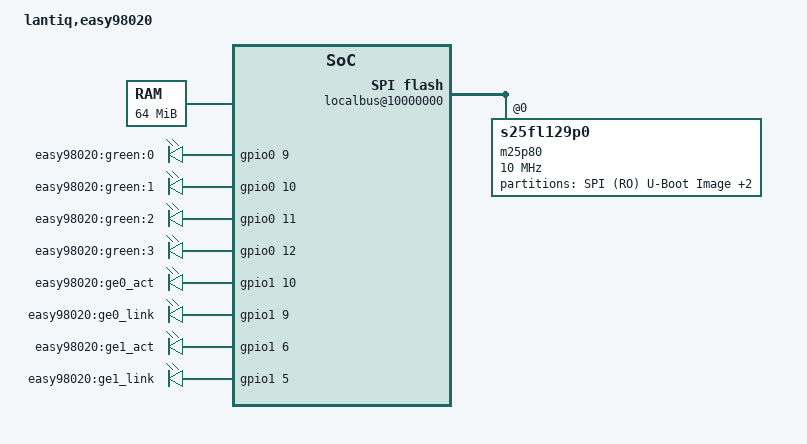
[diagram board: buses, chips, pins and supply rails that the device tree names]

/include/ "falcon.dtsi"

/ {
	model = "lantiq,easy98020";

	chosen {
		// don't set bootargs
		// bootargs = "console=ttyLTQ0,115200 init=/etc/preinit";
	};

	memory@0 {
		reg = <0x0 0x4000000>;  // 64M at 0x0
	};

	localbus@10000000 {
		#address-cells = <1>;
		#size-cells = <1>;
		compatible = "lantiq,sflash-falcon", "simple-bus";
		busnum = <0>;

		m25p80@0 {
			#address-cells = <1>;
			#size-cells = <1>;
			compatible = "s25fl129p0";
			reg = <0 0>;
			linux,modalias = "m25p80", "s25fl129p0";
			linux,mtd-name = "sflash";
			spi-max-frequency = <10000000>;

			partition@0 {
				reg = <0x0 0x00080000>;
				label = "SPI (RO) U-Boot Image";
				read-only;
			};

			partition@80000 {
				reg = <0x00080000 0x00080000>;
				label = "SPI (RO) DTB Image";
				read-only;
			};

			partition@100000 {
				reg = <0x00100000 0x00400000>;
				label = "SPI (RO) Linux Kernel Image";
				read-only;
			};
		};
	};

	easy98020-leds {
		compatible = "gpio-leds";

		LED_0 {
			label = "easy98020:green:0";
			gpios = <&gpio0 9 0>;
			default-state = "keep";
		};
		LED_1 {
			label = "easy98020:green:1";
			gpios = <&gpio0 10 0>;
			default-state = "keep";
		};
		LED_2 {
			label = "easy98020:green:2";
			gpios = <&gpio0 11 0>;
			default-state = "keep";
		};
		LED_3 {
			label = "easy98020:green:3";
			gpios = <&gpio0 12 0>;
			default-state = "keep";
		};
	};

	easy98020-phy-leds {
		/* extra group, as currently pinctrl-falcon has a bug
		   and detects "gpio0 10" and "gpio1 10" as conflict.
		   To avoid unregistering of all leds from the group on error,
		   we define an extra group here! */
		compatible = "gpio-leds";

		GE0_ACT {
			label = "easy98020:ge0_act";
			gpios = <&gpio1 10 0>;
			default-state = "keep";
		};
		GE0_LINK {
			label = "easy98020:ge0_link";
			gpios = <&gpio1 9 0>;
			default-state = "keep";
		};
		GE1_ACT {
			label = "easy98020:ge1_act";
			gpios = <&gpio1 6 0>;
			default-state = "keep";
		};
		GE1_LINK {
			label = "easy98020:ge1_link";
			gpios = <&gpio1 5 0>;
			default-state = "keep";
		};
	};
};
